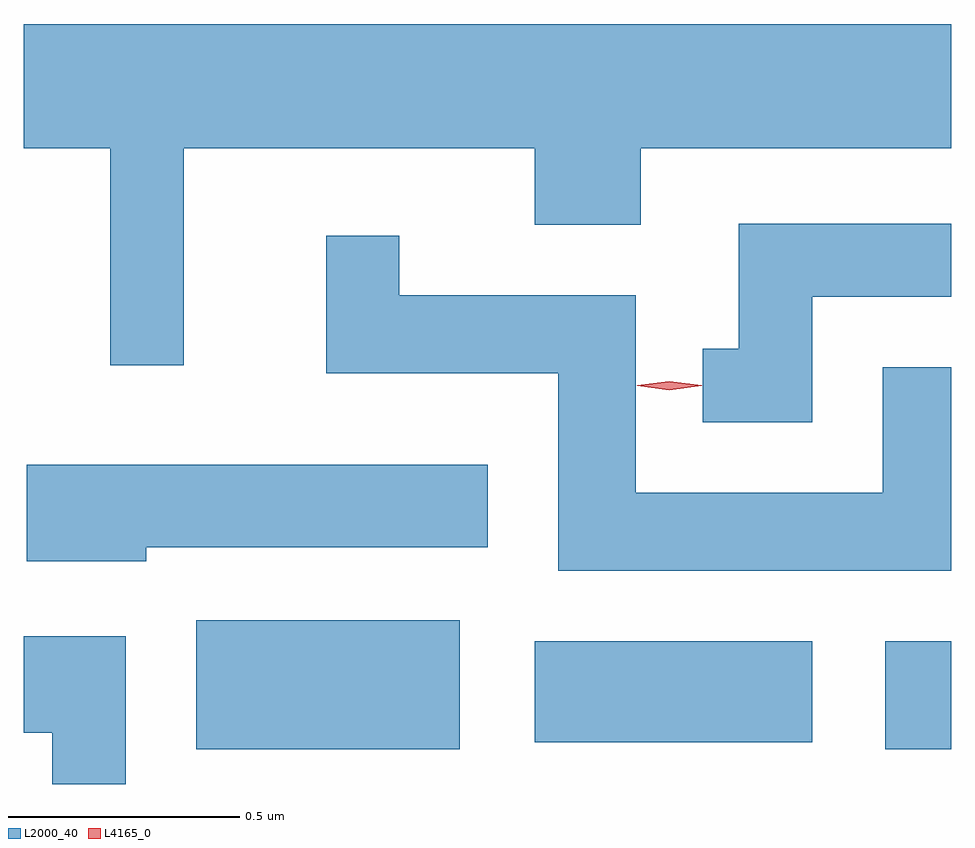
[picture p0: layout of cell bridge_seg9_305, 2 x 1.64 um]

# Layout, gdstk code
import gdstk
lib = gdstk.Library(unit=1e-6, precision=1e-09)
def R(c, l, rs):  # rectangles x0, y0, x1, y1
    for r in rs: c.add(gdstk.rectangle(r[:2], r[2:], *l))
def P(c, l, *ps):  # polygons
    for p in ps: c.add(gdstk.Polygon(p, *l))
L2000_40 = (2000, 40)
L4165_0 = (4165, 0)

bridge_seg9_305 = lib.new_cell('bridge_seg9_305')
R(bridge_seg9_305, L2000_40, [(1008.541,2046.021,1009.109,2046.299), (1010.026,2046.021,1010.169,2046.254), (1009.271,2046.036,1009.869,2046.254)])
P(bridge_seg9_305, L2000_40, [(1008.514,2047.316),(1009.271,2047.316),(1009.271,2047.151),(1009.499,2047.151),(1009.499,2047.316),(1010.169,2047.316),(1010.169,2047.584),(1008.169,2047.584),(1008.169,2047.316),(1008.356,2047.316),(1008.356,2046.848),(1008.514,2046.848)],
  [(1009.869,2046.996),(1010.169,2046.996),(1010.169,2047.154),(1009.711,2047.154),(1009.711,2046.884),(1009.633,2046.884),(1009.633,2046.726),(1009.869,2046.726)],
  [(1010.169,2046.844),(1010.021,2046.844),(1010.021,2046.574),(1009.489,2046.574),(1009.489,2046.999),(1008.979,2046.999),(1008.979,2047.128),(1008.821,2047.128),(1008.821,2046.831),(1009.321,2046.831),(1009.321,2046.406),(1010.169,2046.406)],
  [(1008.434,2046.456),(1009.169,2046.456),(1009.169,2046.634),(1008.176,2046.634),(1008.176,2046.426),(1008.434,2046.426)],
  [(1008.389,2046.264),(1008.169,2046.264),(1008.169,2046.056),(1008.231,2046.056),(1008.231,2045.946),(1008.389,2045.946)])
P(bridge_seg9_305, L4165_0, [(1009.561,2046.795),(1009.492,2046.804),(1009.492,2046.804),(1009.492,2046.805),(1009.561,2046.814),(1009.631,2046.805),(1009.631,2046.805),(1009.631,2046.804)])

lib.write_gds('bridge_seg9_305.gds')
